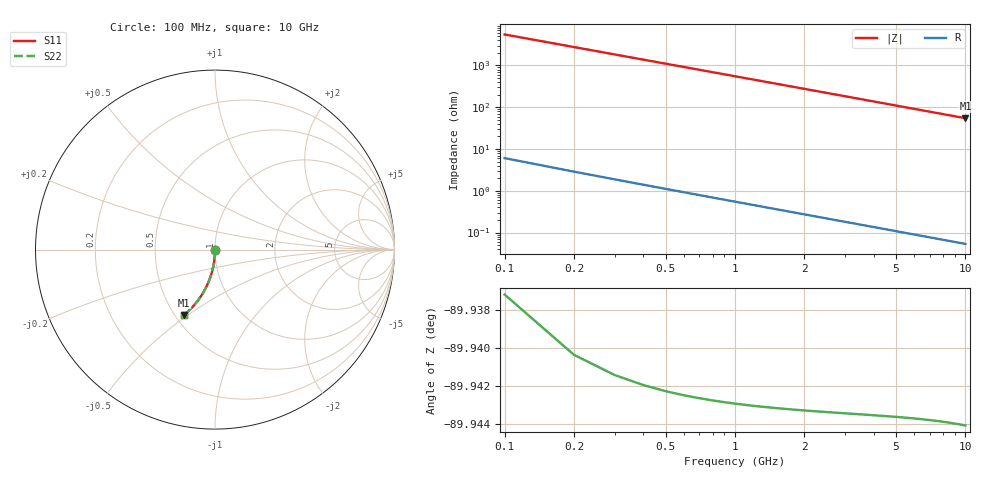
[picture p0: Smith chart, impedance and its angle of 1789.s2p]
# Hz S RI R 50.00
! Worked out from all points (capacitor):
!   100 points, 100 MHz to 10 GHz, reference 50 ohm
!   read as one part in shunt: C = 288 fF near 100 MHz
!   lowest |Z| = 54.9 ohm at 10 GHz (marker M1)
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1e8  3.97e-06 -0.00439  0.9999 -0.00465  0.9999 -0.00465  3.97e-06 -0.00439
2e8  -6.16e-05 -0.00878  0.9999 -0.00931  0.9999 -0.00931  -6.16e-05 -0.00878
3e8  -0.000168 -0.0132  0.9998 -0.014  0.9998 -0.014  -0.000168 -0.0132
4e8  -0.000315 -0.0176  0.9996 -0.0186  0.9996 -0.0186  -0.000315 -0.0176
5e8  -0.000504 -0.0219  0.9994 -0.0233  0.9994 -0.0233  -0.000504 -0.0219
6e8  -0.000733 -0.0263  0.9992 -0.0279  0.9992 -0.0279  -0.000733 -0.0263
7e8  -0.001 -0.0307  0.9989 -0.0326  0.9989 -0.0326  -0.001 -0.0307
8e8  -0.00131 -0.0351  0.9986 -0.0372  0.9986 -0.0372  -0.00131 -0.0351
9e8  -0.00166 -0.0395  0.9983 -0.0418  0.9983 -0.0418  -0.00166 -0.0395
1.1e9  -0.00249 -0.0482  0.9974 -0.0511  0.9974 -0.0511  -0.00249 -0.0482
1.4e9  -0.00403 -0.0613  0.9959 -0.065  0.9959 -0.065  -0.00403 -0.0613
1.8e9  -0.00665 -0.0786  0.9933 -0.0834  0.9933 -0.0834  -0.00665 -0.0786
2.1e9  -0.00903 -0.0915  0.9909 -0.0971  0.9909 -0.0971  -0.00903 -0.0915
2.5e9  -0.0128 -0.1086  0.9872 -0.1152  0.9872 -0.1152  -0.0128 -0.1086
2.9e9  -0.0171 -0.1254  0.9828 -0.1332  0.9828 -0.1332  -0.0171 -0.1254
3.4e9  -0.0234 -0.1462  0.9765 -0.1553  0.9765 -0.1553  -0.0234 -0.1462
4.2e9  -0.0353 -0.1786  0.9646 -0.1898  0.9646 -0.1898  -0.0353 -0.1786
5.1e9  -0.0513 -0.2134  0.9485 -0.2271  0.9485 -0.2271  -0.0513 -0.2134
5.9e9  -0.0676 -0.2428  0.9322 -0.2587  0.9322 -0.2587  -0.0676 -0.2428
6.7e9  -0.0857 -0.2705  0.9141 -0.2886  0.9141 -0.2886  -0.0857 -0.2705
8.4e9  -0.1289 -0.3233  0.8708 -0.3462  0.8708 -0.3462  -0.1289 -0.3233
1e10  -0.1738 -0.3649  0.8257 -0.3923  0.8257 -0.3923  -0.1738 -0.3649
